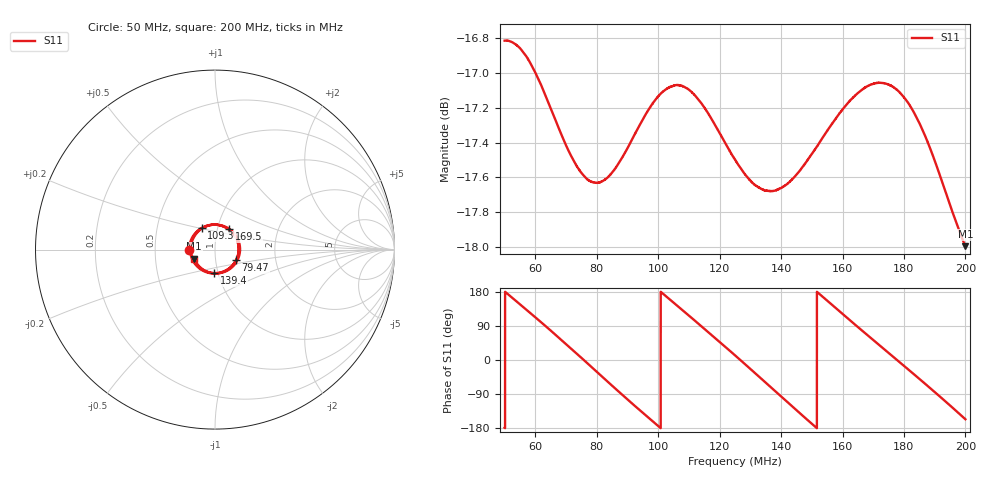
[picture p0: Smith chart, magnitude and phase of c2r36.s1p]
! COPPER MOUNTAIN TECHNOLOGIES, PLANAR TR1300/1, 00071119, 20.2.2/1.0
! Date: 1/9/2024 7:20:04 PM
! Data: Format [Calibration Info]
! Freq  S11: Re/Im F1
# HZ S RI R 50
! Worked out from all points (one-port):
!   12288 points, 50 MHz to 200 MHz, reference 50 ohm
!   lowest |S11| = -18.0 dB at 200 MHz (marker M1), VSWR 1.29, Z = 39.5 - j4.06 ohm
!   |S11| at or under -10 dB: start of sweep to end of sweep
!   S11 on the Smith chart (normalised r, x): 50 MHz: 0.75, -0.00; 79.47 MHz: 1.25, -0.15; 109.3 MHz: 0.84, +0.20; 139.4 MHz: 0.96, -0.25; 169.5 MHz: 1.14, +0.27; 200 MHz: 0.79, -0.08
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5e7  -0.1443 -0.00272
5.474892e7  -0.1227 0.0747
6.021812e7  -0.0509 0.1317
6.441768e7  0.0196 0.137
6.875153e7  0.0851 0.1054
7.422072e7  0.1299 0.0262
7.947017e7  0.1168 -0.06
8.750305e7  0.00919 -0.1329
9.231301e7  -0.069 -0.1168
9.777e7  -0.129 -0.0498
1.019574e8  -0.1383 0.019
1.062546e8  -0.1115 0.0849
1.093188e8  -0.0736 0.1189
1.166314e8  0.0439 0.1302
1.250061e8  0.1303 0.0285
1.313909e8  0.1092 -0.0727
1.394482e8  -0.00502 -0.1307
1.437576e8  -0.0725 -0.1099
1.485188e8  -0.1233 -0.0507
1.52877e8  -0.1335 0.0202
1.572963e8  -0.1054 0.0873
1.625092e8  -0.0339 0.1345
1.69541e8  0.0786 0.1161
1.75584e8  0.1355 0.0356
1.812607e8  0.1266 -0.0563
1.861317e8  0.0731 -0.1147
1.904899e8  0.00491 -0.1328
2e8  -0.1154 -0.0506
